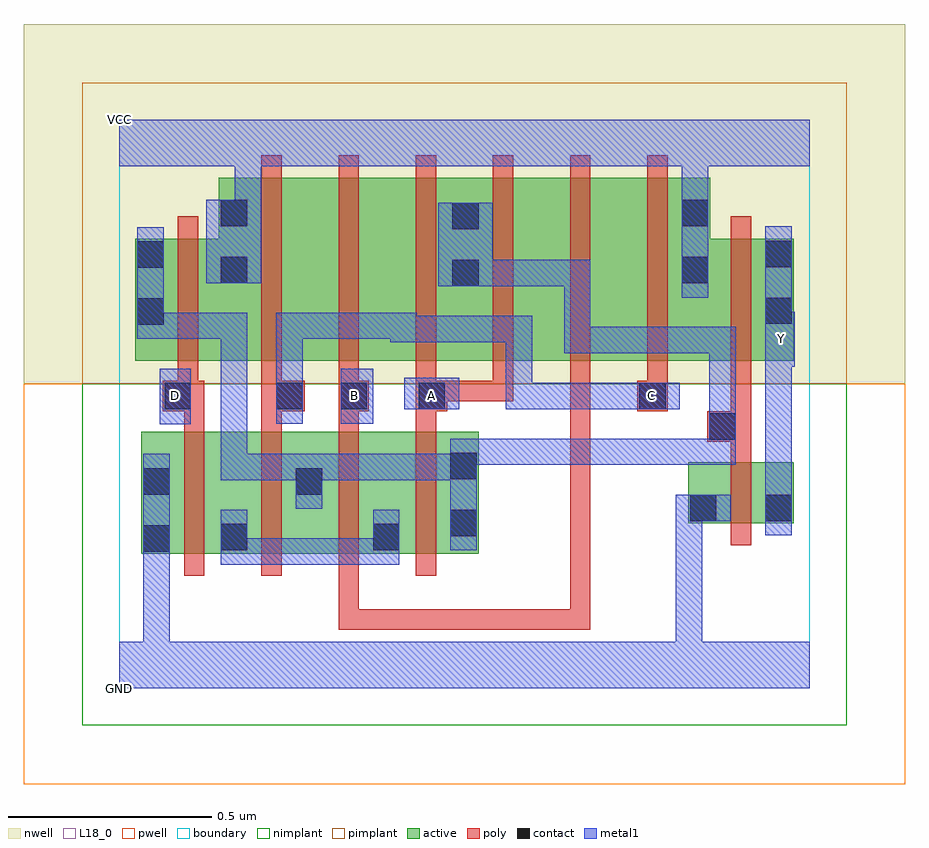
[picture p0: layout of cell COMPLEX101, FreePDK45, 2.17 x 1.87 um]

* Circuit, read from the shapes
.subckt COMPLEX101 A B C D GND VCC Y
M1 n1 D GND VSUBS nfet w=0.3u l=0.05u
M2 n2 C n1 VSUBS nfet w=0.3u l=0.05u
M3 n1 B n2 VSUBS nfet w=0.3u l=0.05u
M4 n2 A n1 VSUBS nfet w=0.3u l=0.05u
M5 Y n2 GND VSUBS nfet w=0.15u l=0.05u
M6 VCC D n2 n3 pfet w=0.3u l=0.05u
M7 n4 C VCC n3 pfet w=0.45u l=0.05u
M8 n5 B n4 n3 pfet w=0.45u l=0.05u
M9 n2 A n5 n3 pfet w=0.45u l=0.05u
M10 n6 A n2 n3 pfet w=0.45u l=0.05u
M11 n7 B n6 n3 pfet w=0.45u l=0.05u
M12 VCC C n7 n3 pfet w=0.45u l=0.05u
M13 Y n2 VCC n3 pfet w=0.3u l=0.05u
.ends

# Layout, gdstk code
import gdstk
lib = gdstk.Library(unit=1e-6, precision=1e-09)
def R(c, l, rs):  # rectangles x0, y0, x1, y1
    for r in rs: c.add(gdstk.rectangle(r[:2], r[2:], *l))
def A(c, l, x, y, w, h, nx, ny, dx, dy):  # array of equal rectangles
    R(c, l, [(x+i*dx, y+j*dy, x+i*dx+w, y+j*dy+h) for i in range(nx) for j in range(ny)])
active = (1, 0)
pwell = (2, 0)
nwell = (3, 0)
nimplant = (4, 0)
pimplant = (5, 0)
poly = (9, 0)
contact = (10, 0)
metal1 = (11, 0)
L18_0 = (18, 0)
boundary = (235, 0)

complex101 = lib.new_cell('COMPLEX101')
R(complex101, active, [(0.055,0.332,0.32,0.632), (0.055,0.332,0.13,0.632), (0.245,0.332,0.32,0.547), (0.245,0.332,0.505,0.632), (0.43,0.332,0.695,0.632), (0.62,0.332,0.885,0.632), (0.62,0.332,0.695,0.547), (0.81,0.37,0.885,0.632), (0.43,0.382,0.505,0.547), (1.4,0.407,1.475,0.557), (1.4,0.407,1.66,0.557), (1.585,0.407,1.66,0.557), (0.04,0.807,0.32,1.107), (0.04,0.807,0.115,1.105), (0.245,0.807,0.47,1.257), (0.47,0.807,0.66,1.257), (0.66,0.807,0.89,1.257), (0.815,0.807,1.04,1.257), (1.04,0.807,1.23,1.257), (1.23,0.807,1.455,1.257), (1.38,0.807,1.66,1.107), (1.38,0.807,1.455,1.207), (1.585,0.807,1.66,1.107), (0.815,0.857,0.89,1.2), (0.245,0.992,0.32,1.207)])
R(complex101, pwell, [(-0.235,-0.235,1.935,0.75)])
R(complex101, nwell, [(-0.235,0.75,1.935,1.635)])
R(complex101, nimplant, [(-0.09,-0.09,1.79,0.75)])
R(complex101, pimplant, [(-0.09,0.75,1.79,1.49)])
A(complex101, poly, 0.16, 0.277, 0.05, 0.41, 4, 1, 0.19, 0)
A(complex101, poly, 0.16, 0.637, 0.05, 0.095, 4, 1, 0.19, 0)
A(complex101, poly, 0.35, 0.707, 0.05, 0.095, 4, 1, 0.19, 0)
A(complex101, poly, 0.35, 0.752, 0.05, 0.56, 6, 1, 0.19, 0)
R(complex101, poly, [(0.54,0.145,0.59,0.195), (0.54,0.145,0.59,0.195), (0.54,0.145,0.59,0.195), (0.54,0.145,0.837,0.195), (0.54,0.145,0.59,0.327), (0.787,0.145,0.837,0.195), (0.787,0.145,1.027,0.195), (0.977,0.145,1.027,0.195), (0.977,0.145,1.027,0.195), (0.977,0.145,1.027,0.195), (0.977,0.145,1.16,0.195), (1.11,0.145,1.16,0.802), (1.11,0.145,1.16,0.195), (1.11,0.145,1.16,0.195), (1.11,0.145,1.16,0.195), (1.11,0.145,1.16,0.195), (1.11,0.145,1.16,0.195), (1.11,0.145,1.16,0.195), (1.11,0.145,1.16,0.195), (1.11,0.145,1.16,0.195), (1.11,0.145,1.16,0.195), (1.11,0.145,1.16,0.195), (1.11,0.145,1.16,0.195), (1.505,0.352,1.555,0.612), (1.505,0.562,1.555,0.657), (1.447,0.607,1.555,0.682), (1.505,0.632,1.555,0.802), (0.107,0.682,0.21,0.757), (0.35,0.682,0.457,0.757), (0.54,0.682,0.615,0.757), (0.73,0.682,0.807,0.757), (1.275,0.682,1.35,0.757), (0.145,0.707,0.195,0.802), (0.757,0.707,0.807,0.757), (0.757,0.707,0.807,0.757), (0.757,0.707,0.97,0.757), (0.92,0.707,0.97,0.757), (1.3,0.707,1.35,0.802), (0.145,0.752,0.195,1.162), (1.505,0.752,1.555,1.162)])
R(complex101, contact, [(0.06,0.337,0.125,0.402), (0.25,0.34,0.315,0.405), (0.625,0.34,0.69,0.405), (0.815,0.375,0.88,0.44), (1.405,0.412,1.47,0.477), (1.59,0.412,1.655,0.477), (0.06,0.477,0.125,0.542), (0.435,0.477,0.5,0.542), (0.815,0.515,0.88,0.58), (1.452,0.612,1.517,0.677), (0.112,0.687,0.177,0.752), (0.387,0.687,0.452,0.752), (0.545,0.687,0.61,0.752), (0.737,0.687,0.802,0.752), (1.28,0.687,1.345,0.752), (0.045,0.895,0.11,0.96), (1.59,0.897,1.655,0.962), (0.82,0.99,0.885,1.055), (0.25,0.997,0.315,1.062), (1.385,0.997,1.45,1.062), (0.045,1.035,0.11,1.1), (1.59,1.037,1.655,1.102), (0.82,1.13,0.885,1.195), (0.25,1.137,0.315,1.202), (1.385,1.137,1.45,1.202)])
R(complex101, metal1, [(0,0,1.7,0.115), (0.06,0.05,0.125,0.115), (0.06,0.05,0.125,0.115), (0.06,0.05,0.125,0.115), (0.06,0.05,0.125,0.115), (0.06,0.05,0.125,0.367), (1.37,0.05,1.435,0.477), (0.06,0.302,0.125,0.577), (0.25,0.305,0.315,0.37), (0.25,0.305,0.315,0.37), (0.25,0.305,0.315,0.44), (0.25,0.305,0.452,0.37), (0.387,0.305,0.452,0.37), (0.387,0.305,0.59,0.37), (0.525,0.305,0.59,0.37), (0.525,0.305,0.69,0.37), (0.625,0.305,0.69,0.44), (0.815,0.34,0.88,0.615), (1.59,0.377,1.655,0.512), (1.37,0.412,1.435,0.477), (1.37,0.412,1.435,0.477), (1.37,0.412,1.435,0.477), (1.37,0.412,1.435,0.477), (1.37,0.412,1.435,0.477), (1.37,0.412,1.435,0.477), (1.37,0.412,1.505,0.477), (0.435,0.442,0.5,0.577), (1.59,0.447,1.655,0.857), (0.25,0.512,0.315,0.577), (0.25,0.512,0.315,0.577), (0.25,0.512,0.315,0.577), (0.25,0.512,0.315,0.577), (0.25,0.512,0.315,0.577), (0.25,0.512,0.5,0.577), (0.25,0.512,0.315,0.925), (0.435,0.512,0.595,0.577), (0.53,0.512,0.595,0.577), (0.53,0.512,0.637,0.577), (0.572,0.512,0.637,0.577), (0.572,0.512,0.88,0.577), (0.815,0.512,0.88,0.577), (0.815,0.512,0.88,0.577), (0.815,0.55,1.022,0.615), (0.957,0.55,1.022,0.615), (0.957,0.55,1.16,0.615), (1.095,0.55,1.16,0.615), (1.095,0.55,1.16,0.615), (1.095,0.55,1.16,0.615), (1.095,0.55,1.297,0.615), (1.232,0.55,1.297,0.615), (1.232,0.55,1.297,0.615), (1.232,0.55,1.297,0.615), (1.232,0.55,1.517,0.615), (1.452,0.55,1.517,0.615), (1.452,0.55,1.517,0.642), (1.452,0.577,1.517,0.642), (1.452,0.577,1.517,0.642), (1.452,0.577,1.517,0.712), (1.452,0.577,1.517,0.89), (0.1,0.65,0.177,0.787), (0.387,0.652,0.452,0.787), (0.545,0.652,0.625,0.787), (0.702,0.687,0.837,0.765), (0.952,0.687,1.017,0.752), (0.952,0.687,1.017,0.752), (0.952,0.687,1.017,0.752), (0.952,0.687,1.017,0.917), (0.952,0.687,1.16,0.752), (1.095,0.687,1.16,0.752), (1.095,0.687,1.16,0.752), (1.095,0.687,1.16,0.752), (1.095,0.687,1.297,0.752), (1.232,0.687,1.297,0.752), (1.232,0.687,1.307,0.752), (1.242,0.687,1.38,0.752), (0.387,0.722,0.452,0.787), (0.387,0.722,0.452,0.787), (0.387,0.722,0.452,0.925), (1.59,0.792,1.662,0.927), (1.095,0.825,1.16,0.89), (1.095,0.825,1.16,0.89), (1.095,0.825,1.16,0.89), (1.095,0.825,1.297,0.89), (1.095,0.825,1.16,1.055), (1.232,0.825,1.297,0.89), (1.232,0.825,1.297,0.89), (1.232,0.825,1.297,0.89), (1.232,0.825,1.517,0.89), (1.452,0.825,1.517,0.89), (0.667,0.852,1.017,0.917), (0.667,0.852,0.732,0.925), (0.952,0.852,1.017,0.917), (0.045,0.86,0.11,0.925), (0.045,0.86,0.11,0.925), (0.045,0.86,0.11,1.135), (0.045,0.86,0.315,0.925), (0.25,0.86,0.315,0.925), (0.387,0.86,0.452,0.925), (0.387,0.86,0.595,0.925), (0.53,0.86,0.595,0.925), (0.53,0.86,0.69,0.925), (0.625,0.86,0.69,0.925), (0.625,0.86,0.732,0.925), (1.59,0.862,1.655,0.927), (1.59,0.862,1.655,1.137), (1.385,0.962,1.45,1.237), (0.785,0.99,0.92,1.195), (0.855,0.99,1.022,1.055), (0.957,0.99,1.022,1.055), (0.957,0.99,1.16,1.055), (1.095,0.99,1.16,1.055), (0.215,0.997,0.35,1.202), (0.285,1.137,0.35,1.35), (1.385,1.172,1.45,1.35), (0,1.285,1.7,1.4)])
R(complex101, L18_0, [(0,0,1.7,0.115), (0.06,0.05,0.125,0.115), (0.06,0.05,0.125,0.115), (0.06,0.05,0.125,0.115), (0.06,0.05,0.125,0.115), (0.06,0.05,0.125,0.367), (1.37,0.05,1.435,0.477), (0.06,0.302,0.125,0.577), (1.59,0.377,1.655,0.512), (1.37,0.412,1.435,0.477), (1.37,0.412,1.435,0.477), (1.37,0.412,1.435,0.477), (1.37,0.412,1.435,0.477), (1.37,0.412,1.435,0.477), (1.37,0.412,1.435,0.477), (1.37,0.412,1.505,0.477), (1.59,0.447,1.655,0.857), (0.1,0.65,0.177,0.787), (0.387,0.652,0.452,0.787), (0.545,0.652,0.625,0.787), (0.107,0.687,0.172,0.752), (0.547,0.687,0.612,0.752), (0.702,0.687,0.837,0.765), (0.737,0.687,0.802,0.752), (0.952,0.687,1.017,0.752), (0.952,0.687,1.017,0.752), (0.952,0.687,1.017,0.752), (0.952,0.687,1.16,0.752), (0.952,0.687,1.017,0.917), (1.095,0.687,1.16,0.752), (1.095,0.687,1.16,0.752), (1.095,0.687,1.16,0.752), (1.095,0.687,1.297,0.752), (1.232,0.687,1.297,0.752), (1.232,0.687,1.307,0.752), (1.242,0.687,1.38,0.752), (1.277,0.687,1.342,0.752), (0.387,0.722,0.452,0.787), (0.387,0.722,0.452,0.787), (0.387,0.722,0.452,0.925), (1.59,0.792,1.662,0.927), (1.597,0.827,1.662,0.892), (0.667,0.852,0.732,0.925), (0.667,0.852,1.017,0.917), (0.952,0.852,1.017,0.917), (0.387,0.86,0.452,0.925), (0.387,0.86,0.595,0.925), (0.53,0.86,0.595,0.925), (0.53,0.86,0.69,0.925), (0.625,0.86,0.69,0.925), (0.625,0.86,0.732,0.925), (1.59,0.862,1.655,0.927), (1.59,0.862,1.655,1.137), (1.385,0.962,1.45,1.237), (0.215,0.997,0.35,1.202), (0.285,1.137,0.35,1.35), (1.385,1.172,1.45,1.35), (0,1.285,1.7,1.4)])
R(complex101, boundary, [(0,0,1.7,1.4)])
complex101.add(gdstk.Label('A', (0.77,0.72), layer=11, texttype=0))
complex101.add(gdstk.Label('B', (0.58,0.72), layer=11, texttype=0))
complex101.add(gdstk.Label('C', (1.31,0.72), layer=11, texttype=0))
complex101.add(gdstk.Label('D', (0.14,0.72), layer=11, texttype=0))
complex101.add(gdstk.Label('Y', (1.63,0.86), layer=11, texttype=0))
complex101.add(gdstk.Label('VCC', (0,1.4), layer=11, texttype=0))
complex101.add(gdstk.Label('GND', (0,0), layer=11, texttype=0))

lib.write_gds('COMPLEX101.gds')
